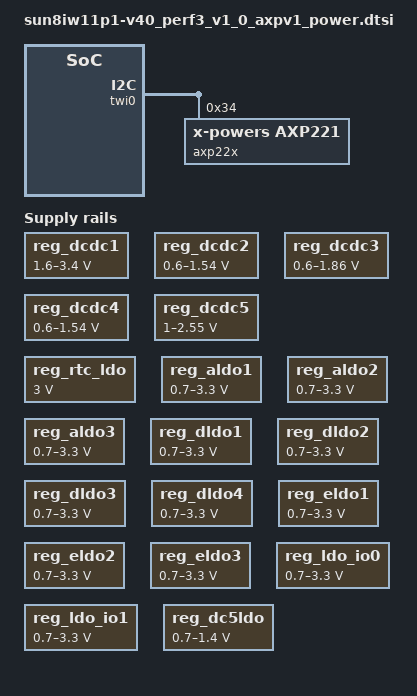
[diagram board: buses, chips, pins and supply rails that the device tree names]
/*
 * Allwinner Technology CO., Ltd. sun8iw11p1 power tree.
 *
 */

&twi0 {
	axp22x: pmu@0x34{
		compatible = "x-powers,axp221";
		reg = <0x34>;
		#address-cells = <1>;
		#size-cells = <0>;
		interrupts = <GIC_SPI 0 IRQ_TYPE_LEVEL_HIGH>;
		status = "okay";
	};
};

#include "axp22x.dtsi"

&reg_dcdc1 {
	regulator-name = "axp22x_dcdc1";
	regulator-min-microvolt = <1600000>;
	regulator-max-microvolt = <3400000>;
	regulator-always-on;
};

&reg_dcdc2 {
	regulator-name = "axp22x_dcdc2";
	regulator-min-microvolt = <600000>;
	regulator-max-microvolt = <1540000>;
	regulator-always-on;
};

&reg_dcdc3 {
	regulator-name = "axp22x_dcdc3";
	regulator-min-microvolt = <600000>;
	regulator-max-microvolt = <1860000>;
	regulator-always-on;
};

&reg_dcdc4 {
	regulator-name = "axp22x_dcdc4";
	regulator-min-microvolt = <600000>;
	regulator-max-microvolt = <1540000>;
};

&reg_dcdc5 {
	regulator-name = "axp22x_dcdc5";
	regulator-min-microvolt = <1000000>;
	regulator-max-microvolt = <2550000>;
	regulator-always-on;
};

&reg_rtc_ldo {
	regulator-name = "axp22x_rtc";
	regulator-min-microvolt = <3000000>;
	regulator-max-microvolt = <3000000>;
};

&reg_aldo1 {
	regulator-name = "axp22x_aldo1";
	regulator-min-microvolt = <700000>;
	regulator-max-microvolt = <3300000>;
};

&reg_aldo2 {
	regulator-name = "axp22x_aldo2";
	regulator-min-microvolt = <700000>;
	regulator-max-microvolt = <3300000>;
};

&reg_aldo3 {
	regulator-name = "axp22x_aldo3";
	regulator-min-microvolt = <700000>;
	regulator-max-microvolt = <3300000>;
	regulator-always-on;
};

&reg_dldo1 {
	regulator-name = "axp22x_dldo1";
	regulator-min-microvolt = <700000>;
	regulator-max-microvolt = <3300000>;
};

&reg_dldo2 {
	regulator-name = "axp22x_dldo2";
	regulator-min-microvolt = <700000>;
	regulator-max-microvolt = <3300000>;
};

&reg_dldo3 {
	regulator-name = "axp22x_dldo3";
	regulator-min-microvolt = <700000>;
	regulator-max-microvolt = <3300000>;
};

&reg_dldo4 {
	regulator-name = "axp22x_dldo4";
	regulator-min-microvolt = <700000>;
	regulator-max-microvolt = <3300000>;
};

&reg_eldo1 {
	regulator-name = "axp22x_eldo1";
	regulator-min-microvolt = <700000>;
	regulator-max-microvolt = <3300000>;
};

&reg_eldo2 {
	regulator-name = "axp22x_eldo2";
	regulator-min-microvolt = <700000>;
	regulator-max-microvolt = <3300000>;
};

&reg_eldo3 {
	regulator-name = "axp22x_eldo3";
	regulator-min-microvolt = <700000>;
	regulator-max-microvolt = <3300000>;
};

&reg_ldo_io0 {
	regulator-name = "axp22x_ldoio0";
	regulator-min-microvolt = <700000>;
	regulator-max-microvolt = <3300000>;
};

&reg_ldo_io1 {
	regulator-name = "axp22x_ldoio1";
	regulator-min-microvolt = <700000>;
	regulator-max-microvolt = <3300000>;
};

&reg_dc1sw {
	regulator-name = "axp22x_dc1sw";
};

&reg_dc5ldo {
	regulator-name = "axp22x_dc5ldo";
	regulator-min-microvolt = <700000>;
	regulator-max-microvolt = <1400000>;
};

&ir0 {
	ir0-supply = <&reg_dcdc1>;
};

&ir1 {
	ir1-supply = <&reg_dcdc1>;
};
